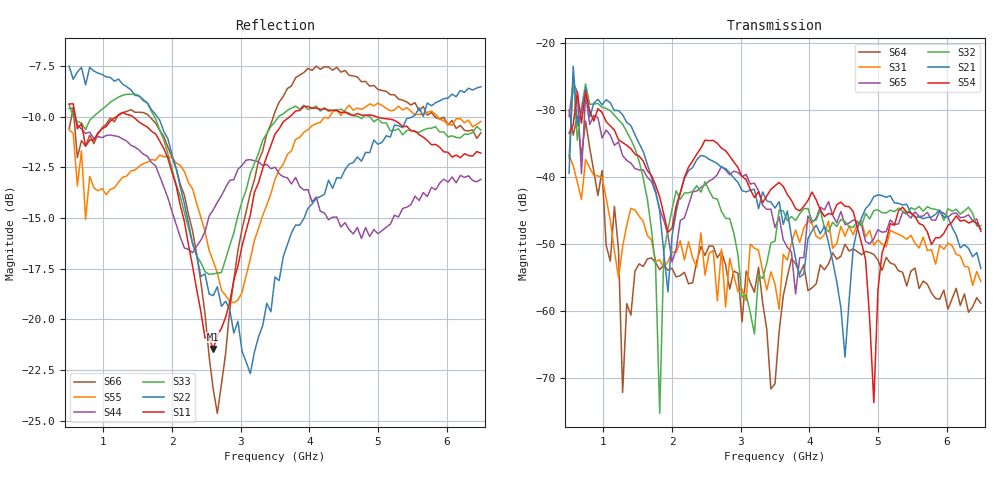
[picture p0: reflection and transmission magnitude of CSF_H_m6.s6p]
!Keysight Technologies,M9804A,MY58100912,A.14.10.03
!Date: Thursday, April 27, 2023 10:28:33
!Correction: S11(C  6-Port  )
!S12(C  6-Port  )
!S13(C  6-Port  )
!S14(C  6-Port  )
!S15(C  6-Port  )
!S16(C  6-Port  )
!S21(C  6-Port  )
!S22(C  6-Port  )
!S23(C  6-Port  )
!S24(C  6-Port  )
!S25(C  6-Port  )
!S26(C  6-Port  )
!S31(C  6-Port  )
!S32(C  6-Port  )
!S33(C  6-Port  )
!S34(C  6-Port  )
!S35(C  6-Port  )
!S36(C  6-Port  )
!S41(C  6-Port  )
!S42(C  6-Port  )
!S43(C  6-Port  )
!S44(C  6-Port  )
!S45(C  6-Port  )
!S46(C  6-Port  )
!S51(C  6-Port  )
!S52(C  6-Port  )
!S53(C  6-Port  )
!S54(C  6-Port  )
!S55(C  6-Port  )
!S56(C  6-Port  )
!S61(C  6-Port  )
!S62(C  6-Port  )
!S63(C  6-Port  )
!S64(C  6-Port  )
!S65(C  6-Port  )
!S66(C  6-Port  )
!S6P File: Measurement: :
# Hz S  RI  R 50
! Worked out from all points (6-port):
!   101 points, 500 MHz to 6.5 GHz, reference 50 ohm
!   strongest paths, dB at 500 MHz, 2 GHz, 3.5 GHz, 5 GHz, 6.5 GHz:
!     S54: -33.5, -47.6, -41.3, -56.9, -47.9
!     S21: -39.5, -48.8, -44.7, -42.7, -53.7
!     S32: -37.3, -44.8, -49.6, -44.9, -47.3
!     S65: -31.0, -52.7, -47.6, -47.9, -48.1
!     S31: -36.8, -51.2, -56.0, -49.4, -55.6
!     S64: -30.1, -53.6, -70.9, -52.4, -58.9
!   lowest |S11| = -21.5 dB at 2.6 GHz (marker M1), VSWR 1.18, Z = 42.5 + j2.21 ohm
!   |S11| at or under -10 dB: 591 MHz to 1.188 GHz (596.8 MHz wide, 67.1 % of centre); 1.428 GHz to 3.714 GHz (2.286 GHz wide, 88.9 % of centre); 4.977 GHz to end of sweep
